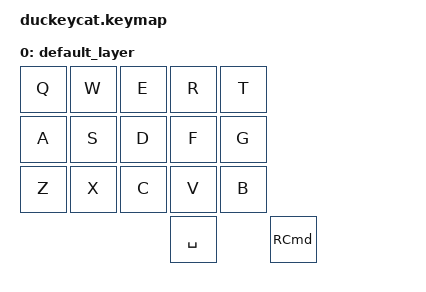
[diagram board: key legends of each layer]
#include <behaviors.dtsi>
#include <dt-bindings/zmk/keys.h>

/ {
    keymap {
        compatible = "zmk,keymap";

        default_layer {
// --------------------------------------------------------------------------------------------------------------------------------------------------------------------
// |   ESC   |    Q    |    W    |    E    |    R    |    T    |                                          |    Y    |    U    |    I    |    O    |    P    |    \    |
// |   TAB   |    A    |    S    |    D    |    F    |    G    |                                          |    H    |    J    |    K    |    L    |    ;    |    '    |
// |  SHIFT  |    Z    |    X    |    C    |    V    |    B    | CTRL+A  | CTRL+C  |  |  CTRL+V |  CTRL+X |    N    |    M    |    ,    |    .    |    /    |  R CTRL |
//                               |   GUI   |   DEL   | RETURN  |  SPACE  | ESCAPE  |  |  RETURN |  SPACE  |   TAB   |   BSPC  |  R ALT  |
            bindings = <
&kp Q &kp W &kp E &kp R &kp T
&kp A &kp S &kp D &kp F &kp G
&kp Z &kp X &kp C &kp V &kp B
                  &kp SPACE &kp RIGHT_COMMAND
            >;

        };
    };
};

